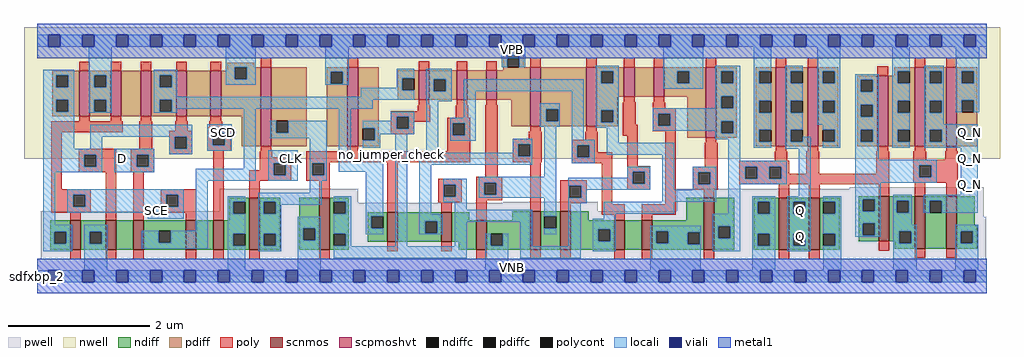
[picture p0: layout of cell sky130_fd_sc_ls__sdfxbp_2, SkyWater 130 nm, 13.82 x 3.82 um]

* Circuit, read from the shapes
.subckt sky130_fd_sc_ls__sdfxbp_2 CLK D SCD SCE VGND VNB VPB VPWR Q Q_N
XM1 VGND SCE n1 VNB sky130_fd_pr__nfet_01v8 w=0.42 l=0.15
XM2 n2 n1 VGND VNB sky130_fd_pr__nfet_01v8 w=0.42 l=0.15
XM3 n3 D n2 VNB sky130_fd_pr__nfet_01v8 w=0.42 l=0.15
XM4 n4 SCE n3 VNB sky130_fd_pr__nfet_01v8 w=0.42 l=0.15
XM5 VGND SCD n4 VNB sky130_fd_pr__nfet_01v8 w=0.42 l=0.15
XM6 n5 CLK VGND VNB sky130_fd_pr__nfet_01v8 w=0.74 l=0.15
XM7 n6 n5 VGND VNB sky130_fd_pr__nfet_01v8 w=0.74 l=0.15
XM8 n7 n5 n3 VNB sky130_fd_pr__nfet_01v8 w=0.42 l=0.15
XM9 n8 n6 n7 VNB sky130_fd_pr__nfet_01v8 w=0.42 l=0.15
XM10 VGND n9 n8 VNB sky130_fd_pr__nfet_01v8 w=0.42 l=0.15
XM11 n9 n7 VGND VNB sky130_fd_pr__nfet_01v8 w=0.55 l=0.15
XM12 n10 n6 n9 VNB sky130_fd_pr__nfet_01v8 w=0.55 l=0.15
XM13 n11 n5 n10 VNB sky130_fd_pr__nfet_01v8 w=0.42 l=0.15
XM14 VGND n12 n11 VNB sky130_fd_pr__nfet_01v8 w=0.42 l=0.15
XM15 n12 n10 VGND VNB sky130_fd_pr__nfet_01v8 w=0.74 l=0.15
XM16 Q n12 VGND VNB sky130_fd_pr__nfet_01v8 w=0.74 l=0.15 m=2
XM17 VGND n12 n13 VNB sky130_fd_pr__nfet_01v8 w=0.64 l=0.15
XM18 Q_N n13 VGND VNB sky130_fd_pr__nfet_01v8 w=0.74 l=0.15 m=2
XM19 VPWR SCE n1 VPB sky130_fd_pr__pfet_01v8_hvt w=0.64 l=0.15
XM20 n14 SCE VPWR VPB sky130_fd_pr__pfet_01v8_hvt w=0.64 l=0.15
XM21 n3 D n14 VPB sky130_fd_pr__pfet_01v8_hvt w=0.64 l=0.15
XM22 n15 n1 n3 VPB sky130_fd_pr__pfet_01v8_hvt w=0.64 l=0.15
XM23 VPWR SCD n15 VPB sky130_fd_pr__pfet_01v8_hvt w=0.64 l=0.15
XM24 n5 CLK VPWR VPB sky130_fd_pr__pfet_01v8_hvt w=1.12 l=0.15
XM25 n6 n5 VPWR VPB sky130_fd_pr__pfet_01v8_hvt w=1.12 l=0.15
XM26 n7 n6 n3 VPB sky130_fd_pr__pfet_01v8_hvt w=0.42 l=0.15
XM27 n16 n5 n7 VPB sky130_fd_pr__pfet_01v8_hvt w=0.42 l=0.15
XM28 VPWR n9 n16 VPB sky130_fd_pr__pfet_01v8_hvt w=0.42 l=0.15
XM29 n9 n7 VPWR VPB sky130_fd_pr__pfet_01v8_hvt w=0.84 l=0.15
XM30 n10 n5 n9 VPB sky130_fd_pr__pfet_01v8_hvt w=0.84 l=0.15
XM31 n17 n6 n10 VPB sky130_fd_pr__pfet_01v8_hvt w=0.42 l=0.15
XM32 VPWR n12 n17 VPB sky130_fd_pr__pfet_01v8_hvt w=0.42 l=0.15
XM33 n12 n10 VPWR VPB sky130_fd_pr__pfet_01v8_hvt w=1 l=0.15
XM34 Q n12 VPWR VPB sky130_fd_pr__pfet_01v8_hvt w=1.12 l=0.15 m=2
XM35 VPWR n12 n13 VPB sky130_fd_pr__pfet_01v8_hvt w=1 l=0.15
XM36 Q_N n13 VPWR VPB sky130_fd_pr__pfet_01v8_hvt w=1.12 l=0.15 m=2
.ends

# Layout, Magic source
magic
tech sky130A
magscale 1 2
<< nwell >>
rect -38 332 2726 704
<< pwell >>
rect 2300 248 2680 252
rect 517 207 908 248
rect 1319 207 1587 210
rect 517 184 1587 207
rect 1811 184 2680 248
rect 10 168 2680 184
rect 10 49 2687 168
rect 0 0 2688 49
<< scnmos >>
rect 93 74 123 158
rect 193 74 223 158
rect 271 74 301 158
rect 420 74 450 158
rect 498 74 528 158
rect 600 74 630 222
rect 798 74 828 222
rect 991 97 1021 181
rect 1143 97 1173 181
rect 1243 74 1273 158
rect 1395 74 1425 184
rect 1481 74 1511 184
rect 1633 74 1663 158
rect 1711 74 1741 158
rect 1887 74 1917 222
rect 2099 74 2129 222
rect 2185 74 2215 222
rect 2383 98 2413 226
rect 2485 78 2515 226
rect 2574 78 2604 226
<< scpmoshvt >>
rect 118 453 148 581
rect 208 453 238 581
rect 292 453 322 581
rect 393 453 423 581
rect 490 453 520 581
rect 632 368 662 592
rect 878 368 908 592
rect 1080 499 1110 583
rect 1187 499 1217 583
rect 1271 499 1301 583
rect 1395 424 1425 592
rect 1554 424 1584 592
rect 1661 508 1691 592
rect 1745 508 1775 592
rect 1893 392 1923 592
rect 2091 368 2121 592
rect 2181 368 2211 592
rect 2379 368 2409 568
rect 2484 368 2514 592
rect 2574 368 2604 592
<< ndiff >>
rect 543 210 600 222
rect 543 176 555 210
rect 589 176 600 210
rect 543 158 600 176
rect 36 125 93 158
rect 36 91 48 125
rect 82 91 93 125
rect 36 74 93 91
rect 123 125 193 158
rect 123 91 148 125
rect 182 91 193 125
rect 123 74 193 91
rect 223 74 271 158
rect 301 128 420 158
rect 301 94 343 128
rect 377 94 420 128
rect 301 74 420 94
rect 450 74 498 158
rect 528 120 600 158
rect 528 86 555 120
rect 589 86 600 120
rect 528 74 600 86
rect 630 210 687 222
rect 630 176 641 210
rect 675 176 687 210
rect 630 120 687 176
rect 630 86 641 120
rect 675 86 687 120
rect 630 74 687 86
rect 741 136 798 222
rect 741 102 753 136
rect 787 102 798 136
rect 741 74 798 102
rect 828 210 882 222
rect 828 176 839 210
rect 873 176 882 210
rect 828 120 882 176
rect 828 86 839 120
rect 873 86 882 120
rect 936 169 991 181
rect 936 135 946 169
rect 980 135 991 169
rect 936 97 991 135
rect 1021 156 1143 181
rect 1021 122 1098 156
rect 1132 122 1143 156
rect 1021 97 1143 122
rect 1173 158 1223 181
rect 1345 158 1395 184
rect 1173 97 1243 158
rect 828 74 882 86
rect 1193 74 1243 97
rect 1273 120 1395 158
rect 1273 86 1284 120
rect 1318 86 1395 120
rect 1273 74 1395 86
rect 1425 170 1481 184
rect 1425 136 1436 170
rect 1470 136 1481 170
rect 1425 74 1481 136
rect 1511 158 1561 184
rect 1837 158 1887 222
rect 1511 133 1633 158
rect 1511 99 1588 133
rect 1622 99 1633 133
rect 1511 74 1633 99
rect 1663 74 1711 158
rect 1741 127 1887 158
rect 1741 93 1752 127
rect 1786 124 1887 127
rect 1786 93 1842 124
rect 1741 90 1842 93
rect 1876 90 1887 124
rect 1741 74 1887 90
rect 1917 141 1974 222
rect 1917 107 1928 141
rect 1962 107 1974 141
rect 1917 74 1974 107
rect 2028 210 2099 222
rect 2028 176 2040 210
rect 2074 176 2099 210
rect 2028 120 2099 176
rect 2028 86 2040 120
rect 2074 86 2099 120
rect 2028 74 2099 86
rect 2129 210 2185 222
rect 2129 176 2140 210
rect 2174 176 2185 210
rect 2129 120 2185 176
rect 2129 86 2140 120
rect 2174 86 2185 120
rect 2129 74 2185 86
rect 2215 210 2272 222
rect 2215 176 2226 210
rect 2260 176 2272 210
rect 2215 120 2272 176
rect 2215 86 2226 120
rect 2260 86 2272 120
rect 2326 218 2383 226
rect 2326 184 2338 218
rect 2372 184 2383 218
rect 2326 150 2383 184
rect 2326 116 2338 150
rect 2372 116 2383 150
rect 2326 98 2383 116
rect 2413 214 2485 226
rect 2413 180 2434 214
rect 2468 180 2485 214
rect 2413 127 2485 180
rect 2413 98 2440 127
rect 2215 74 2272 86
rect 2428 93 2440 98
rect 2474 93 2485 127
rect 2428 78 2485 93
rect 2515 214 2574 226
rect 2515 180 2527 214
rect 2561 180 2574 214
rect 2515 78 2574 180
rect 2604 142 2654 226
rect 2604 127 2661 142
rect 2604 93 2615 127
rect 2649 93 2661 127
rect 2604 78 2661 93
<< pdiff >>
rect 1319 625 1377 637
rect 538 592 614 604
rect 538 581 559 592
rect 42 569 118 581
rect 42 535 54 569
rect 88 535 118 569
rect 42 499 118 535
rect 42 465 54 499
rect 88 465 118 499
rect 42 453 118 465
rect 148 569 208 581
rect 148 535 161 569
rect 195 535 208 569
rect 148 499 208 535
rect 148 465 161 499
rect 195 465 208 499
rect 148 453 208 465
rect 238 453 292 581
rect 322 569 393 581
rect 322 535 346 569
rect 380 535 393 569
rect 322 499 393 535
rect 322 465 346 499
rect 380 465 393 499
rect 322 453 393 465
rect 423 453 490 581
rect 520 558 559 581
rect 593 558 632 592
rect 520 453 632 558
rect 579 368 632 453
rect 662 440 763 592
rect 662 406 676 440
rect 710 406 763 440
rect 662 368 763 406
rect 819 578 878 592
rect 819 544 831 578
rect 865 544 878 578
rect 819 368 878 544
rect 908 419 967 592
rect 1319 591 1331 625
rect 1365 592 1377 625
rect 1365 591 1395 592
rect 1319 583 1395 591
rect 1021 560 1080 583
rect 1021 526 1033 560
rect 1067 526 1080 560
rect 1021 499 1080 526
rect 1110 558 1187 583
rect 1110 524 1123 558
rect 1157 524 1187 558
rect 1110 499 1187 524
rect 1217 499 1271 583
rect 1301 499 1395 583
rect 908 385 921 419
rect 955 385 967 419
rect 908 368 967 385
rect 1342 424 1395 499
rect 1425 473 1554 592
rect 1425 439 1441 473
rect 1475 439 1554 473
rect 1425 424 1554 439
rect 1584 580 1661 592
rect 1584 546 1597 580
rect 1631 546 1661 580
rect 1584 508 1661 546
rect 1691 508 1745 592
rect 1775 580 1893 592
rect 1775 546 1812 580
rect 1846 546 1893 580
rect 1775 508 1893 546
rect 1584 470 1643 508
rect 1584 436 1597 470
rect 1631 436 1643 470
rect 1584 424 1643 436
rect 1840 392 1893 508
rect 1923 580 1980 592
rect 1923 546 1936 580
rect 1970 546 1980 580
rect 1923 509 1980 546
rect 1923 475 1936 509
rect 1970 475 1980 509
rect 1923 438 1980 475
rect 1923 404 1936 438
rect 1970 404 1980 438
rect 1923 392 1980 404
rect 2034 580 2091 592
rect 2034 546 2044 580
rect 2078 546 2091 580
rect 2034 497 2091 546
rect 2034 463 2044 497
rect 2078 463 2091 497
rect 2034 414 2091 463
rect 2034 380 2044 414
rect 2078 380 2091 414
rect 2034 368 2091 380
rect 2121 580 2181 592
rect 2121 546 2134 580
rect 2168 546 2181 580
rect 2121 497 2181 546
rect 2121 463 2134 497
rect 2168 463 2181 497
rect 2121 414 2181 463
rect 2121 380 2134 414
rect 2168 380 2181 414
rect 2121 368 2181 380
rect 2211 580 2268 592
rect 2211 546 2224 580
rect 2258 546 2268 580
rect 2427 580 2484 592
rect 2427 568 2437 580
rect 2211 497 2268 546
rect 2211 463 2224 497
rect 2258 463 2268 497
rect 2211 414 2268 463
rect 2211 380 2224 414
rect 2258 380 2268 414
rect 2211 368 2268 380
rect 2322 556 2379 568
rect 2322 522 2332 556
rect 2366 522 2379 556
rect 2322 485 2379 522
rect 2322 451 2332 485
rect 2366 451 2379 485
rect 2322 414 2379 451
rect 2322 380 2332 414
rect 2366 380 2379 414
rect 2322 368 2379 380
rect 2409 546 2437 568
rect 2471 546 2484 580
rect 2409 497 2484 546
rect 2409 463 2437 497
rect 2471 463 2484 497
rect 2409 414 2484 463
rect 2409 380 2437 414
rect 2471 380 2484 414
rect 2409 368 2484 380
rect 2514 580 2574 592
rect 2514 546 2527 580
rect 2561 546 2574 580
rect 2514 497 2574 546
rect 2514 463 2527 497
rect 2561 463 2574 497
rect 2514 414 2574 463
rect 2514 380 2527 414
rect 2561 380 2574 414
rect 2514 368 2574 380
rect 2604 580 2661 592
rect 2604 546 2617 580
rect 2651 546 2661 580
rect 2604 498 2661 546
rect 2604 464 2617 498
rect 2651 464 2661 498
rect 2604 368 2661 464
<< ndiffc >>
rect 555 176 589 210
rect 48 91 82 125
rect 148 91 182 125
rect 343 94 377 128
rect 555 86 589 120
rect 641 176 675 210
rect 641 86 675 120
rect 753 102 787 136
rect 839 176 873 210
rect 839 86 873 120
rect 946 135 980 169
rect 1098 122 1132 156
rect 1284 86 1318 120
rect 1436 136 1470 170
rect 1588 99 1622 133
rect 1752 93 1786 127
rect 1842 90 1876 124
rect 1928 107 1962 141
rect 2040 176 2074 210
rect 2040 86 2074 120
rect 2140 176 2174 210
rect 2140 86 2174 120
rect 2226 176 2260 210
rect 2226 86 2260 120
rect 2338 184 2372 218
rect 2338 116 2372 150
rect 2434 180 2468 214
rect 2440 93 2474 127
rect 2527 180 2561 214
rect 2615 93 2649 127
<< pdiffc >>
rect 54 535 88 569
rect 54 465 88 499
rect 161 535 195 569
rect 161 465 195 499
rect 346 535 380 569
rect 346 465 380 499
rect 559 558 593 592
rect 676 406 710 440
rect 831 544 865 578
rect 1331 591 1365 625
rect 1033 526 1067 560
rect 1123 524 1157 558
rect 921 385 955 419
rect 1441 439 1475 473
rect 1597 546 1631 580
rect 1812 546 1846 580
rect 1597 436 1631 470
rect 1936 546 1970 580
rect 1936 475 1970 509
rect 1936 404 1970 438
rect 2044 546 2078 580
rect 2044 463 2078 497
rect 2044 380 2078 414
rect 2134 546 2168 580
rect 2134 463 2168 497
rect 2134 380 2168 414
rect 2224 546 2258 580
rect 2224 463 2258 497
rect 2224 380 2258 414
rect 2332 522 2366 556
rect 2332 451 2366 485
rect 2332 380 2366 414
rect 2437 546 2471 580
rect 2437 463 2471 497
rect 2437 380 2471 414
rect 2527 546 2561 580
rect 2527 463 2561 497
rect 2527 380 2561 414
rect 2617 546 2651 580
rect 2617 464 2651 498
<< poly >>
rect 118 581 148 607
rect 208 581 238 607
rect 292 581 322 607
rect 393 581 423 607
rect 490 581 520 607
rect 632 592 662 618
rect 878 592 908 618
rect 118 438 148 453
rect 208 438 238 453
rect 292 438 322 453
rect 393 438 423 453
rect 490 438 520 453
rect 39 408 241 438
rect 39 246 69 408
rect 289 360 325 438
rect 390 411 426 438
rect 487 421 523 438
rect 373 395 439 411
rect 373 361 389 395
rect 423 361 439 395
rect 117 344 223 360
rect 117 310 133 344
rect 167 310 223 344
rect 117 294 223 310
rect 265 344 331 360
rect 373 345 439 361
rect 481 405 547 421
rect 481 371 497 405
rect 531 371 547 405
rect 481 355 547 371
rect 1080 583 1110 609
rect 1187 583 1217 609
rect 1271 583 1301 609
rect 1395 592 1425 618
rect 1554 592 1584 618
rect 1661 592 1691 618
rect 1745 592 1775 618
rect 1893 592 1923 618
rect 2091 592 2121 618
rect 2181 592 2211 618
rect 1080 484 1110 499
rect 1187 484 1217 499
rect 1271 484 1301 499
rect 1077 467 1113 484
rect 1001 451 1113 467
rect 1001 417 1017 451
rect 1051 437 1113 451
rect 1184 449 1220 484
rect 1051 417 1067 437
rect 1001 401 1067 417
rect 1160 433 1226 449
rect 1160 399 1176 433
rect 1210 399 1226 433
rect 265 310 281 344
rect 315 310 331 344
rect 265 294 331 310
rect 39 230 151 246
rect 39 196 101 230
rect 135 196 151 230
rect 39 180 151 196
rect 93 158 123 180
rect 193 158 223 294
rect 271 158 301 294
rect 349 230 450 246
rect 349 196 365 230
rect 399 196 450 230
rect 349 180 450 196
rect 420 158 450 180
rect 498 158 528 355
rect 632 353 662 368
rect 878 353 908 368
rect 1160 353 1226 399
rect 629 336 665 353
rect 629 320 719 336
rect 629 300 669 320
rect 600 286 669 300
rect 703 286 719 320
rect 600 270 719 286
rect 762 323 1226 353
rect 762 320 828 323
rect 762 286 778 320
rect 812 286 828 320
rect 762 270 828 286
rect 600 222 630 270
rect 798 222 828 270
rect 991 181 1021 323
rect 1268 281 1304 484
rect 1661 493 1691 508
rect 1745 493 1775 508
rect 1658 428 1694 493
rect 1742 476 1778 493
rect 1742 460 1808 476
rect 1395 409 1425 424
rect 1554 409 1584 424
rect 1392 389 1428 409
rect 1346 373 1428 389
rect 1551 386 1587 409
rect 1658 398 1700 428
rect 1742 426 1758 460
rect 1792 426 1808 460
rect 1742 410 1808 426
rect 1346 339 1362 373
rect 1396 339 1428 373
rect 1346 323 1428 339
rect 1513 370 1587 386
rect 1513 336 1529 370
rect 1563 350 1587 370
rect 1563 336 1628 350
rect 1135 259 1201 275
rect 1135 225 1151 259
rect 1185 225 1201 259
rect 1135 209 1201 225
rect 1243 265 1316 281
rect 1243 231 1266 265
rect 1300 231 1316 265
rect 1243 215 1316 231
rect 1143 181 1173 209
rect 1243 158 1273 215
rect 1395 184 1425 323
rect 1513 320 1628 336
rect 1481 256 1556 272
rect 1481 222 1506 256
rect 1540 222 1556 256
rect 1481 206 1556 222
rect 1481 184 1511 206
rect 1598 203 1628 320
rect 1670 311 1700 398
rect 1670 295 1736 311
rect 1670 261 1686 295
rect 1720 261 1736 295
rect 1670 245 1736 261
rect 1778 203 1808 410
rect 1893 377 1923 392
rect 1890 310 1926 377
rect 2379 568 2409 594
rect 2484 592 2514 618
rect 2574 592 2604 618
rect 2091 353 2121 368
rect 2181 353 2211 368
rect 2379 353 2409 368
rect 2484 353 2514 368
rect 2574 353 2604 368
rect 2088 326 2124 353
rect 1856 294 1926 310
rect 1856 260 1872 294
rect 1906 260 1926 294
rect 1988 310 2129 326
rect 1988 276 2004 310
rect 2038 276 2072 310
rect 2106 290 2129 310
rect 2178 290 2214 353
rect 2376 290 2412 353
rect 2481 330 2517 353
rect 2571 330 2607 353
rect 2481 314 2607 330
rect 2106 276 2413 290
rect 1988 260 2413 276
rect 2481 280 2497 314
rect 2531 280 2607 314
rect 2481 264 2607 280
rect 1856 244 1926 260
rect 1887 222 1917 244
rect 2099 222 2129 260
rect 2185 222 2215 260
rect 2383 226 2413 260
rect 2485 226 2515 264
rect 2574 226 2604 264
rect 93 48 123 74
rect 193 48 223 74
rect 271 48 301 74
rect 420 48 450 74
rect 498 48 528 74
rect 600 48 630 74
rect 798 48 828 74
rect 991 71 1021 97
rect 1143 71 1173 97
rect 1598 173 1663 203
rect 1633 158 1663 173
rect 1711 173 1808 203
rect 1711 158 1741 173
rect 1243 48 1273 74
rect 1395 48 1425 74
rect 1481 48 1511 74
rect 1633 48 1663 74
rect 1711 48 1741 74
rect 1887 48 1917 74
rect 2099 48 2129 74
rect 2185 48 2215 74
rect 2383 72 2413 98
rect 2485 52 2515 78
rect 2574 52 2604 78
<< polycont >>
rect 389 361 423 395
rect 133 310 167 344
rect 497 371 531 405
rect 1017 417 1051 451
rect 1176 399 1210 433
rect 281 310 315 344
rect 101 196 135 230
rect 365 196 399 230
rect 669 286 703 320
rect 778 286 812 320
rect 1758 426 1792 460
rect 1362 339 1396 373
rect 1529 336 1563 370
rect 1151 225 1185 259
rect 1266 231 1300 265
rect 1506 222 1540 256
rect 1686 261 1720 295
rect 1872 260 1906 294
rect 2004 276 2038 310
rect 2072 276 2106 310
rect 2497 280 2531 314
<< locali >>
rect 0 649 31 683
rect 65 649 127 683
rect 161 649 223 683
rect 257 649 319 683
rect 353 649 415 683
rect 449 649 511 683
rect 545 649 607 683
rect 641 649 703 683
rect 737 649 799 683
rect 833 649 895 683
rect 929 649 991 683
rect 1025 649 1087 683
rect 1121 649 1183 683
rect 1217 649 1279 683
rect 1313 649 1375 683
rect 1409 649 1471 683
rect 1505 649 1567 683
rect 1601 649 1663 683
rect 1697 649 1759 683
rect 1793 649 1855 683
rect 1889 649 1951 683
rect 1985 649 2047 683
rect 2081 649 2143 683
rect 2177 649 2239 683
rect 2273 649 2335 683
rect 2369 649 2431 683
rect 2465 649 2527 683
rect 2561 649 2623 683
rect 2657 649 2688 683
rect 17 569 104 585
rect 17 535 54 569
rect 88 535 104 569
rect 17 499 104 535
rect 17 465 54 499
rect 88 465 104 499
rect 17 360 104 465
rect 145 569 211 649
rect 534 592 618 649
rect 145 535 161 569
rect 195 535 211 569
rect 145 499 211 535
rect 145 465 161 499
rect 195 465 211 499
rect 145 462 211 465
rect 330 569 396 585
rect 330 535 346 569
rect 380 535 396 569
rect 534 558 559 592
rect 593 558 618 592
rect 534 542 618 558
rect 815 578 881 649
rect 1315 625 1381 649
rect 1315 591 1331 625
rect 1365 591 1381 625
rect 815 544 831 578
rect 865 544 881 578
rect 815 542 881 544
rect 1017 560 1067 587
rect 330 508 396 535
rect 1017 533 1033 560
rect 915 526 1033 533
rect 915 508 1067 526
rect 330 499 1067 508
rect 1101 558 1173 587
rect 1101 524 1123 558
rect 1157 524 1173 558
rect 1581 580 1647 596
rect 330 465 346 499
rect 380 474 949 499
rect 1101 495 1173 524
rect 1207 523 1547 557
rect 380 465 396 474
rect 330 462 396 465
rect 149 395 439 428
rect 149 394 389 395
rect 149 360 183 394
rect 373 361 389 394
rect 423 361 439 395
rect 17 344 183 360
rect 17 310 133 344
rect 167 310 183 344
rect 17 294 183 310
rect 217 344 331 360
rect 373 345 439 361
rect 481 405 551 430
rect 481 371 497 405
rect 531 371 551 405
rect 481 355 551 371
rect 217 310 281 344
rect 315 310 331 344
rect 217 294 331 310
rect 585 304 619 474
rect 659 406 676 440
rect 710 406 819 440
rect 659 390 819 406
rect 17 146 51 294
rect 449 270 619 304
rect 653 320 737 356
rect 653 286 669 320
rect 703 286 737 320
rect 653 270 737 286
rect 771 320 819 390
rect 771 286 778 320
rect 812 286 819 320
rect 853 330 887 474
rect 1001 451 1067 465
rect 1001 440 1017 451
rect 921 419 1017 440
rect 955 417 1017 419
rect 1051 417 1067 451
rect 955 401 1067 417
rect 955 385 971 401
rect 921 364 971 385
rect 853 296 980 330
rect 771 270 819 286
rect 85 230 415 246
rect 85 196 101 230
rect 135 196 365 230
rect 399 196 415 230
rect 85 180 415 196
rect 313 162 415 180
rect 17 125 98 146
rect 17 91 48 125
rect 82 91 98 125
rect 17 70 98 91
rect 132 125 198 146
rect 449 128 483 270
rect 771 236 805 270
rect 132 91 148 125
rect 182 91 198 125
rect 132 17 198 91
rect 296 94 343 128
rect 377 94 483 128
rect 296 78 483 94
rect 539 210 589 226
rect 539 176 555 210
rect 539 120 589 176
rect 539 86 555 120
rect 539 17 589 86
rect 625 210 805 236
rect 625 176 641 210
rect 675 202 805 210
rect 839 210 889 226
rect 675 176 691 202
rect 625 120 691 176
rect 873 176 889 210
rect 625 86 641 120
rect 675 86 691 120
rect 625 70 691 86
rect 737 136 803 168
rect 737 102 753 136
rect 787 102 803 136
rect 737 17 803 102
rect 839 120 889 176
rect 873 86 889 120
rect 930 169 980 296
rect 930 135 946 169
rect 930 119 980 135
rect 839 85 889 86
rect 1014 85 1048 401
rect 1101 349 1135 495
rect 1207 449 1241 523
rect 1169 433 1241 449
rect 1169 399 1176 433
rect 1210 399 1241 433
rect 1422 473 1479 489
rect 1422 439 1441 473
rect 1475 439 1479 473
rect 1422 423 1479 439
rect 1169 383 1241 399
rect 1346 373 1402 389
rect 1346 349 1362 373
rect 1082 339 1362 349
rect 1396 339 1402 373
rect 1082 315 1402 339
rect 1082 175 1116 315
rect 1436 281 1470 423
rect 1513 386 1547 523
rect 1581 546 1597 580
rect 1631 546 1647 580
rect 1581 470 1647 546
rect 1772 580 1886 649
rect 1772 546 1812 580
rect 1846 546 1886 580
rect 1772 530 1886 546
rect 1920 580 1990 596
rect 1920 546 1936 580
rect 1970 546 1990 580
rect 1920 509 1990 546
rect 1920 476 1936 509
rect 1581 436 1597 470
rect 1631 436 1647 470
rect 1581 420 1647 436
rect 1513 370 1579 386
rect 1513 336 1529 370
rect 1563 336 1579 370
rect 1613 378 1647 420
rect 1742 475 1936 476
rect 1970 475 1990 509
rect 1742 460 1990 475
rect 1742 426 1758 460
rect 1792 438 1990 460
rect 1792 426 1936 438
rect 1742 412 1936 426
rect 1920 404 1936 412
rect 1970 404 1990 438
rect 1920 388 1990 404
rect 1613 344 1804 378
rect 1513 320 1579 336
rect 1150 259 1216 275
rect 1150 225 1151 259
rect 1185 225 1216 259
rect 1150 209 1216 225
rect 1250 265 1470 281
rect 1670 295 1736 310
rect 1670 279 1686 295
rect 1250 231 1266 265
rect 1300 231 1470 265
rect 1250 222 1470 231
rect 1182 188 1216 209
rect 1082 156 1148 175
rect 1082 122 1098 156
rect 1132 122 1148 156
rect 1082 119 1148 122
rect 1182 154 1402 188
rect 1182 85 1216 154
rect 839 51 1216 85
rect 1268 86 1284 120
rect 1318 86 1334 120
rect 1268 17 1334 86
rect 1368 85 1402 154
rect 1436 170 1470 222
rect 1436 119 1470 136
rect 1504 261 1686 279
rect 1720 261 1736 295
rect 1504 256 1736 261
rect 1504 222 1506 256
rect 1540 245 1736 256
rect 1770 245 1804 344
rect 1956 326 1990 388
rect 2028 580 2078 649
rect 2028 546 2044 580
rect 2028 497 2078 546
rect 2028 463 2044 497
rect 2028 414 2078 463
rect 2028 380 2044 414
rect 2028 364 2078 380
rect 2118 580 2168 596
rect 2118 546 2134 580
rect 2118 497 2168 546
rect 2118 463 2134 497
rect 2118 414 2168 463
rect 2208 580 2274 649
rect 2208 546 2224 580
rect 2258 546 2274 580
rect 2421 580 2471 649
rect 2208 497 2274 546
rect 2208 463 2224 497
rect 2258 463 2274 497
rect 2208 428 2274 463
rect 2118 380 2134 414
rect 2224 414 2274 428
rect 2168 380 2190 394
rect 2118 360 2190 380
rect 2258 380 2274 414
rect 2224 364 2274 380
rect 2316 556 2382 572
rect 2316 522 2332 556
rect 2366 522 2382 556
rect 2316 485 2382 522
rect 2316 451 2332 485
rect 2366 451 2382 485
rect 2316 414 2382 451
rect 2316 380 2332 414
rect 2366 380 2382 414
rect 1956 310 2122 326
rect 1856 294 1922 310
rect 1856 260 1872 294
rect 1906 260 1922 294
rect 1856 245 1922 260
rect 1540 222 1556 245
rect 1504 206 1556 222
rect 1770 211 1922 245
rect 1956 276 2004 310
rect 2038 276 2072 310
rect 2106 276 2122 310
rect 1956 260 2122 276
rect 1504 85 1538 206
rect 1604 177 1804 211
rect 1956 177 1990 260
rect 2156 226 2190 360
rect 2316 330 2382 380
rect 2421 546 2437 580
rect 2421 497 2471 546
rect 2421 463 2437 497
rect 2421 414 2471 463
rect 2421 380 2437 414
rect 2421 364 2471 380
rect 2511 580 2567 596
rect 2511 546 2527 580
rect 2561 546 2567 580
rect 2511 497 2567 546
rect 2511 463 2527 497
rect 2561 463 2567 497
rect 2601 580 2667 649
rect 2601 546 2617 580
rect 2651 546 2667 580
rect 2601 498 2667 546
rect 2601 464 2617 498
rect 2651 464 2667 498
rect 2511 430 2567 463
rect 2511 414 2663 430
rect 2511 380 2527 414
rect 2561 380 2663 414
rect 2511 364 2663 380
rect 2316 314 2547 330
rect 2316 280 2497 314
rect 2531 280 2547 314
rect 2316 264 2547 280
rect 1604 162 1638 177
rect 1368 51 1538 85
rect 1572 133 1638 162
rect 1572 99 1588 133
rect 1622 99 1638 133
rect 1572 70 1638 99
rect 1736 127 1878 143
rect 1736 93 1752 127
rect 1786 124 1878 127
rect 1786 93 1842 124
rect 1736 90 1842 93
rect 1876 90 1878 124
rect 1736 17 1878 90
rect 1912 141 1990 177
rect 1912 107 1928 141
rect 1962 107 1990 141
rect 1912 70 1990 107
rect 2024 210 2090 226
rect 2024 176 2040 210
rect 2074 176 2090 210
rect 2024 120 2090 176
rect 2024 86 2040 120
rect 2074 86 2090 120
rect 2024 17 2090 86
rect 2124 210 2190 226
rect 2124 176 2140 210
rect 2174 176 2190 210
rect 2124 120 2190 176
rect 2124 86 2140 120
rect 2174 86 2190 120
rect 2124 70 2190 86
rect 2226 210 2276 226
rect 2260 176 2276 210
rect 2226 120 2276 176
rect 2260 86 2276 120
rect 2316 218 2388 264
rect 2615 230 2663 364
rect 2316 184 2338 218
rect 2372 184 2388 218
rect 2316 150 2388 184
rect 2316 116 2338 150
rect 2372 116 2388 150
rect 2316 112 2388 116
rect 2424 214 2476 230
rect 2424 180 2434 214
rect 2468 180 2476 214
rect 2510 214 2663 230
rect 2510 180 2527 214
rect 2561 180 2663 214
rect 2424 146 2476 180
rect 2424 127 2490 146
rect 2226 17 2276 86
rect 2424 93 2440 127
rect 2474 93 2490 127
rect 2424 17 2490 93
rect 2599 127 2665 146
rect 2599 93 2615 127
rect 2649 93 2665 127
rect 2599 17 2665 93
rect 0 -17 31 17
rect 65 -17 127 17
rect 161 -17 223 17
rect 257 -17 319 17
rect 353 -17 415 17
rect 449 -17 511 17
rect 545 -17 607 17
rect 641 -17 703 17
rect 737 -17 799 17
rect 833 -17 895 17
rect 929 -17 991 17
rect 1025 -17 1087 17
rect 1121 -17 1183 17
rect 1217 -17 1279 17
rect 1313 -17 1375 17
rect 1409 -17 1471 17
rect 1505 -17 1567 17
rect 1601 -17 1663 17
rect 1697 -17 1759 17
rect 1793 -17 1855 17
rect 1889 -17 1951 17
rect 1985 -17 2047 17
rect 2081 -17 2143 17
rect 2177 -17 2239 17
rect 2273 -17 2335 17
rect 2369 -17 2431 17
rect 2465 -17 2527 17
rect 2561 -17 2623 17
rect 2657 -17 2688 17
<< viali >>
rect 31 649 65 683
rect 127 649 161 683
rect 223 649 257 683
rect 319 649 353 683
rect 415 649 449 683
rect 511 649 545 683
rect 607 649 641 683
rect 703 649 737 683
rect 799 649 833 683
rect 895 649 929 683
rect 991 649 1025 683
rect 1087 649 1121 683
rect 1183 649 1217 683
rect 1279 649 1313 683
rect 1375 649 1409 683
rect 1471 649 1505 683
rect 1567 649 1601 683
rect 1663 649 1697 683
rect 1759 649 1793 683
rect 1855 649 1889 683
rect 1951 649 1985 683
rect 2047 649 2081 683
rect 2143 649 2177 683
rect 2239 649 2273 683
rect 2335 649 2369 683
rect 2431 649 2465 683
rect 2527 649 2561 683
rect 2623 649 2657 683
rect 31 -17 65 17
rect 127 -17 161 17
rect 223 -17 257 17
rect 319 -17 353 17
rect 415 -17 449 17
rect 511 -17 545 17
rect 607 -17 641 17
rect 703 -17 737 17
rect 799 -17 833 17
rect 895 -17 929 17
rect 991 -17 1025 17
rect 1087 -17 1121 17
rect 1183 -17 1217 17
rect 1279 -17 1313 17
rect 1375 -17 1409 17
rect 1471 -17 1505 17
rect 1567 -17 1601 17
rect 1663 -17 1697 17
rect 1759 -17 1793 17
rect 1855 -17 1889 17
rect 1951 -17 1985 17
rect 2047 -17 2081 17
rect 2143 -17 2177 17
rect 2239 -17 2273 17
rect 2335 -17 2369 17
rect 2431 -17 2465 17
rect 2527 -17 2561 17
rect 2623 -17 2657 17
<< metal1 >>
rect 0 683 2688 715
rect 0 649 31 683
rect 65 649 127 683
rect 161 649 223 683
rect 257 649 319 683
rect 353 649 415 683
rect 449 649 511 683
rect 545 649 607 683
rect 641 649 703 683
rect 737 649 799 683
rect 833 649 895 683
rect 929 649 991 683
rect 1025 649 1087 683
rect 1121 649 1183 683
rect 1217 649 1279 683
rect 1313 649 1375 683
rect 1409 649 1471 683
rect 1505 649 1567 683
rect 1601 649 1663 683
rect 1697 649 1759 683
rect 1793 649 1855 683
rect 1889 649 1951 683
rect 1985 649 2047 683
rect 2081 649 2143 683
rect 2177 649 2239 683
rect 2273 649 2335 683
rect 2369 649 2431 683
rect 2465 649 2527 683
rect 2561 649 2623 683
rect 2657 649 2688 683
rect 0 617 2688 649
rect 0 17 2688 49
rect 0 -17 31 17
rect 65 -17 127 17
rect 161 -17 223 17
rect 257 -17 319 17
rect 353 -17 415 17
rect 449 -17 511 17
rect 545 -17 607 17
rect 641 -17 703 17
rect 737 -17 799 17
rect 833 -17 895 17
rect 929 -17 991 17
rect 1025 -17 1087 17
rect 1121 -17 1183 17
rect 1217 -17 1279 17
rect 1313 -17 1375 17
rect 1409 -17 1471 17
rect 1505 -17 1567 17
rect 1601 -17 1663 17
rect 1697 -17 1759 17
rect 1793 -17 1855 17
rect 1889 -17 1951 17
rect 1985 -17 2047 17
rect 2081 -17 2143 17
rect 2177 -17 2239 17
rect 2273 -17 2335 17
rect 2369 -17 2431 17
rect 2465 -17 2527 17
rect 2561 -17 2623 17
rect 2657 -17 2688 17
rect 0 -49 2688 -17
<< labels >>
rlabel comment s 0 0 0 0 4 sdfxbp_2
flabel comment s 1004 343 1004 343 0 FreeSans 200 0 0 0 no_jumper_check
flabel pwell s 0 0 2688 49 0 FreeSans 200 0 0 0 VNB
port 6 nsew ground bidirectional
flabel nwell s 0 617 2688 666 0 FreeSans 200 0 0 0 VPB
port 7 nsew power bidirectional
flabel metal1 s 0 617 2688 666 0 FreeSans 340 0 0 0 VPWR
port 8 nsew power bidirectional abutment
flabel metal1 s 0 0 2688 49 0 FreeSans 340 0 0 0 VGND
port 5 nsew ground bidirectional abutment
flabel locali s 319 168 353 202 0 FreeSans 340 0 0 0 SCE
port 4 nsew signal input
flabel locali s 703 316 737 350 0 FreeSans 340 0 0 0 CLK
port 1 nsew clock input
flabel locali s 223 316 257 350 0 FreeSans 340 0 0 0 D
port 2 nsew signal input
flabel locali s 511 390 545 424 0 FreeSans 340 0 0 0 SCD
port 3 nsew signal input
flabel locali s 2143 94 2177 128 0 FreeSans 340 0 0 0 Q
port 9 nsew signal output
flabel locali s 2143 168 2177 202 0 FreeSans 340 0 0 0 Q
port 9 nsew signal output
flabel locali s 2623 242 2657 276 0 FreeSans 340 0 0 0 Q_N
port 10 nsew signal output
flabel locali s 2623 316 2657 350 0 FreeSans 340 0 0 0 Q_N
port 10 nsew signal output
flabel locali s 2623 390 2657 424 0 FreeSans 340 0 0 0 Q_N
port 10 nsew signal output
<< properties >>
string LEFsite unit
string LEFclass CORE
string FIXED_BBOX 0 0 2688 666
string GDS_FILE $PDKPATH/libs.ref/sky130_fd_sc_ls/gds/sky130_fd_sc_ls.gds
string LEFsymmetry X Y
string GDS_END 4148180
string GDS_START 4128528
<< end >>
